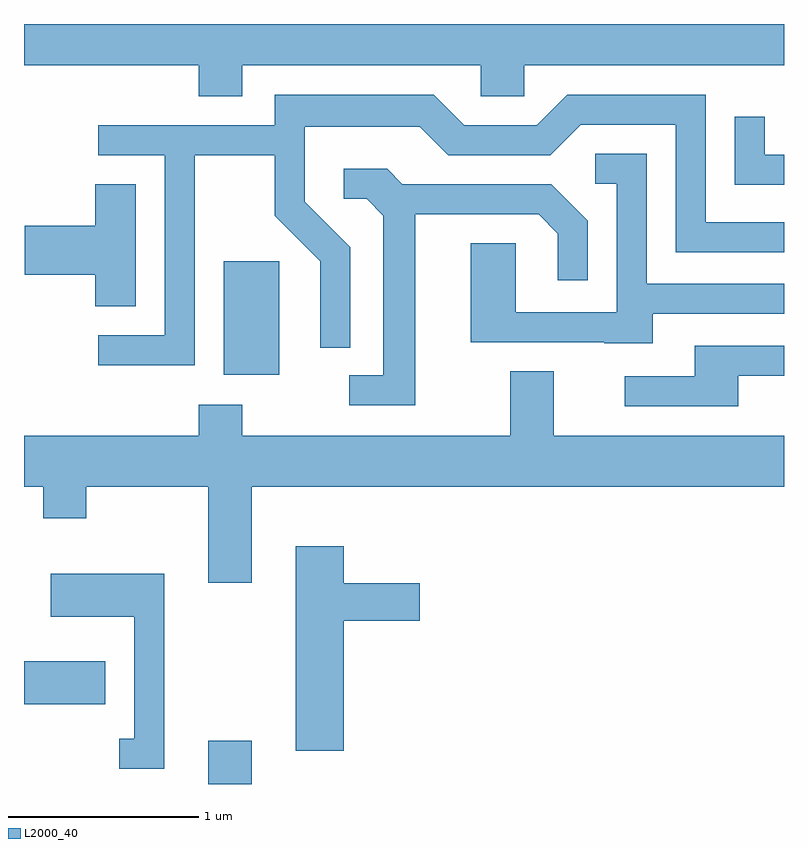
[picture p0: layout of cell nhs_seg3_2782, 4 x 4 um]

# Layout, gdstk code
import gdstk
lib = gdstk.Library(unit=1e-6, precision=1e-09)
def R(c, l, rs):  # rectangles x0, y0, x1, y1
    for r in rs: c.add(gdstk.rectangle(r[:2], r[2:], *l))
def P(c, l, *ps):  # polygons
    for p in ps: c.add(gdstk.Polygon(p, *l))
L2000_40 = (2000, 40)

nhs_seg3_2782 = lib.new_cell('nhs_seg3_2782')
R(nhs_seg3_2782, L2000_40, [(266.581,1239.892,266.809,1240.119), (265.611,1240.311,266.039,1240.539), (266.661,1242.046,266.954,1242.644)])
P(nhs_seg3_2782, L2000_40, [(266.759,1243.676),(268.016,1243.676),(268.016,1243.511),(268.244,1243.511),(268.244,1243.676),(269.611,1243.676),(269.611,1243.892),(265.611,1243.892),(265.611,1243.676),(266.531,1243.676),(266.531,1243.511),(266.759,1243.511)],
  [(266.509,1243.201),(266.931,1243.201),(266.931,1242.884),(267.171,1242.644),(267.171,1242.188),(267.329,1242.188),(267.329,1242.717),(267.089,1242.957),(267.089,1243.351),(267.694,1243.351),(267.844,1243.201),(268.382,1243.201),(268.542,1243.361),(269.041,1243.361),(269.041,1242.691),(269.611,1242.691),(269.611,1242.849),(269.199,1242.849),(269.199,1243.519),(268.469,1243.519),(268.309,1243.359),(267.927,1243.359),(267.767,1243.519),(266.931,1243.519),(266.931,1243.359),(266.003,1243.359),(266.003,1243.201),(266.351,1243.201),(266.351,1242.254),(266.003,1242.254),(266.003,1242.096),(266.509,1242.096)],
  [(269.611,1243.204),(269.509,1243.204),(269.509,1243.403),(269.351,1243.403),(269.351,1243.046),(269.611,1243.046)],
  [(268.919,1242.366),(269.611,1242.366),(269.611,1242.524),(268.889,1242.524),(268.889,1243.209),(268.618,1243.209),(268.618,1243.051),(268.731,1243.051),(268.731,1242.374),(268.199,1242.374),(268.199,1242.739),(267.961,1242.739),(267.961,1242.216),(268.665,1242.216),(268.665,1242.211),(268.919,1242.211)],
  [(267.669,1242.891),(268.319,1242.891),(268.421,1242.789),(268.421,1242.543),(268.579,1242.543),(268.579,1242.857),(268.387,1243.049),(267.602,1243.049),(267.522,1243.129),(267.293,1243.129),(267.293,1242.971),(267.414,1242.971),(267.501,1242.884),(267.501,1242.044),(267.323,1242.044),(267.323,1241.886),(267.669,1241.886)],
  [(266.199,1243.049),(265.986,1243.049),(265.986,1242.829),(265.616,1242.829),(265.616,1242.571),(265.986,1242.571),(265.986,1242.406),(266.199,1242.406)],
  [(269.369,1242.041),(269.611,1242.041),(269.611,1242.199),(269.141,1242.199),(269.141,1242.039),(268.773,1242.039),(268.773,1241.881),(269.369,1241.881)],
  [(266.809,1241.456),(269.611,1241.456),(269.611,1241.724),(268.399,1241.724),(268.399,1242.064),(268.171,1242.064),(268.171,1241.724),(266.759,1241.724),(266.759,1241.889),(266.531,1241.889),(266.531,1241.724),(265.611,1241.724),(265.611,1241.456),(265.711,1241.456),(265.711,1241.291),(265.939,1241.291),(265.939,1241.456),(266.581,1241.456),(266.581,1240.951),(266.809,1240.951)],
  [(267.294,1240.751),(267.694,1240.751),(267.694,1240.949),(267.294,1240.949),(267.294,1241.144),(267.041,1241.144),(267.041,1240.066),(267.294,1240.066)],
  [(266.349,1240.999),(265.751,1240.999),(265.751,1240.771),(266.191,1240.771),(266.191,1240.129),(266.113,1240.129),(266.113,1239.971),(266.349,1239.971)])

lib.write_gds('nhs_seg3_2782.gds')
